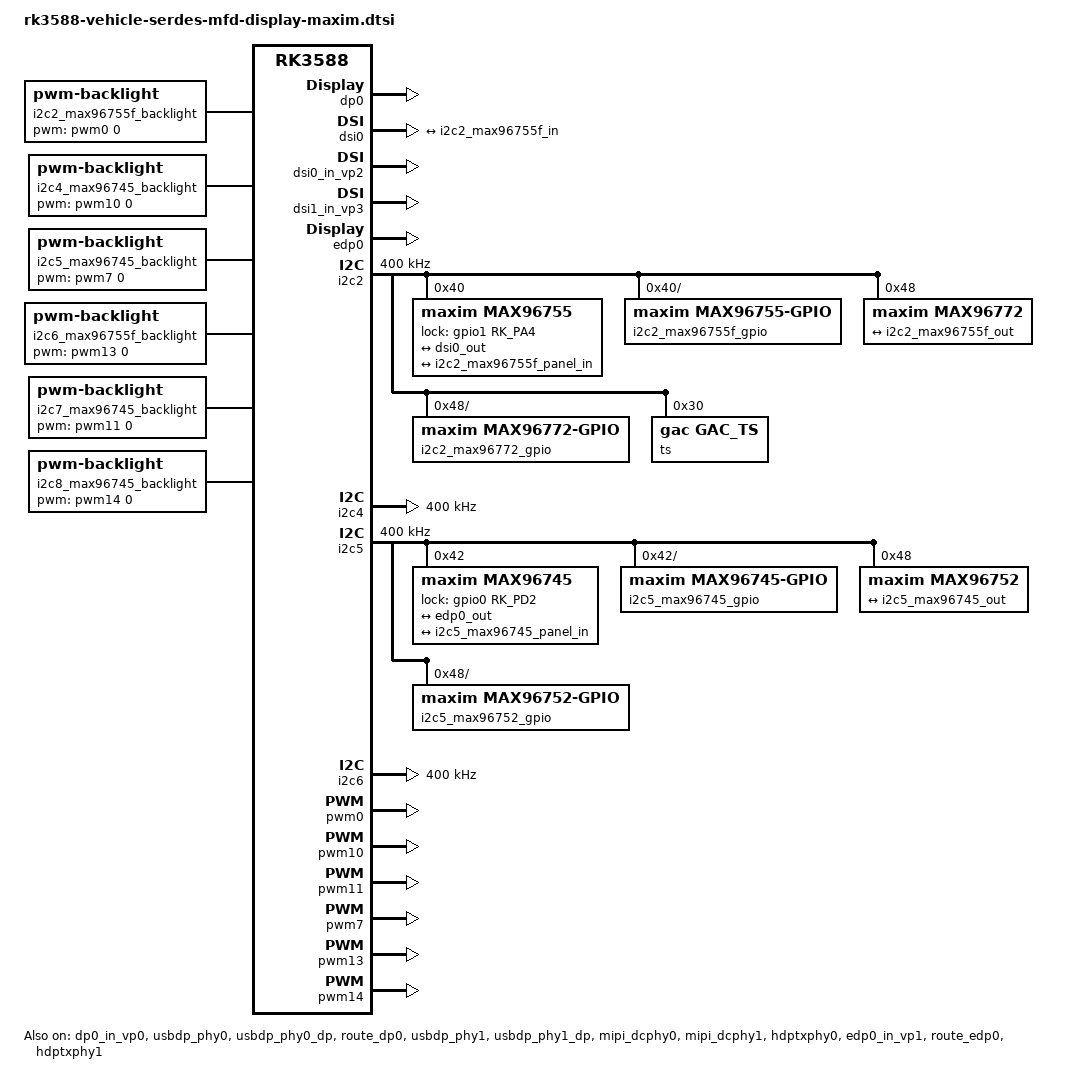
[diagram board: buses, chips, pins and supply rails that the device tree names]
// SPDX-License-Identifier: (GPL-2.0+ OR MIT)
/*
 * Copyright (c) 2022 Rockchip Electronics Co., Ltd.
 */

#include <dt-bindings/display/media-bus-format.h>

/ {
	aliases {
		pinctrl0 = &pinctrl;
	};

	backlight {
		compatible = "simple-bus";
		#address-cells = <1>;
		#size-cells = <0>;

		i2c2_max96755f_backlight: backlight@0 {
			compatible = "pwm-backlight";
			reg = <0>;
			pwms = <&pwm0 0 1000000 0>;
			brightness-levels = <0 4 8 16 32 64 128 255>;
			default-brightness-level = <6>;
		};

		i2c4_max96745_backlight: backlight@1 {
			compatible = "pwm-backlight";
			reg = <1>;
			pwms = <&pwm10 0 1000000 0>;
			brightness-levels = <0 4 8 16 32 64 128 255>;
			default-brightness-level = <6>;
		};

		i2c5_max96745_backlight: backlight@2 {
			compatible = "pwm-backlight";
			reg = <2>;
			pwms = <&pwm7 0 1000000 0>;
			brightness-levels = <0 4 8 16 32 64 128 255>;
			default-brightness-level = <6>;
		};

		i2c6_max96755f_backlight: backlight@3 {
			compatible = "pwm-backlight";
			reg = <3>;
			pwms = <&pwm13 0 1000000 0>;
			brightness-levels = <0 4 8 16 32 64 128 255>;
			default-brightness-level = <6>;
		};

		i2c7_max96745_backlight: backlight@4 {
			compatible = "pwm-backlight";
			reg = <4>;
			pwms = <&pwm11 0 1000000 0>;
			brightness-levels = <0 4 8 16 32 64 128 255>;
			default-brightness-level = <6>;
		};

		i2c8_max96745_backlight: backlight@5 {
			compatible = "pwm-backlight";
			reg = <5>;
			pwms = <&pwm14 0 1000000 0>;
			brightness-levels = <0 4 8 16 32 64 128 255>;
			default-brightness-level = <6>;
		};
	};
};

&dp0 {
	//split-mode;
	force-hpd;
	status = "okay";
};

&dp0_in_vp0 {
	status = "okay";
};

&dp0_out {
	link-frequencies = /bits/ 64 <2700000000>;
	remote-endpoint = <&i2c4_max96745_in>;
};

&usbdp_phy0 {
	rockchip,dp-lane-mux = <0 1 2 3>;
	status = "okay";
};

&usbdp_phy0_dp {
	status = "okay";
};

&route_dp0 {
	connect = <&vp0_out_dp0>;
	status = "okay";
};

&dp1 {
	force-hpd;
	status = "disabled";
};

&dp1_out {
	link-frequencies = /bits/ 64 <2700000000>;
	remote-endpoint = <&i2c8_max96745_in>;
};

&usbdp_phy1 {
	rockchip,dp-lane-mux = <0 1 2 3>;
	status = "okay";
};

&usbdp_phy1_dp {
	status = "okay";
};

&dsi0 {
	status = "okay";

	ports {
		#address-cells = <1>;
		#size-cells = <0>;

		port@1 {
			reg = <1>;

			dsi0_out: endpoint {
				remote-endpoint = <&i2c2_max96755f_in>;
			};
		};
	};
};

&mipi_dcphy0 {
	status = "okay";
};

&dsi0_in_vp2 {
	status = "okay";
};

&route_dsi0 {
	connect = <&vp2_out_dsi0>;
	status = "disabled";
};

&dsi1 {
	status = "disabled";

	ports {
		#address-cells = <1>;
		#size-cells = <0>;

		port@1 {
			reg = <1>;

			dsi1_out: endpoint {
				remote-endpoint = <&i2c6_max96755f_in>;
			};
		};
	};
};

&mipi_dcphy1 {
	status = "okay";
};

&dsi1_in_vp3 {
	status = "okay";
};

&route_dsi1 {
	connect = <&vp3_out_dsi1>;
	status = "disabled";
};

&edp0 {
	//split-mode;
	force-hpd;
	status = "okay";
};

&edp0_out {
	link-frequencies = /bits/ 64 <2700000000>;
	remote-endpoint = <&i2c5_max96745_in>;
};

&hdptxphy0 {
	status = "okay";
};

&edp0_in_vp1 {
	status = "okay";
};

&route_edp0 {
	connect = <&vp1_out_edp0>;
	status = "okay";
};

&edp1 {
	force-hpd;
	status = "disabled";
};

&edp1_out {
	link-frequencies = /bits/ 64 <2700000000>;
	remote-endpoint = <&i2c7_max96745_in>;
};

&hdptxphy1 {
	status = "okay";
};

&hdmi0 {
	status = "disabled";
};

&hdmi1 {
	status = "disabled";
};

&hdptxphy_hdmi0 {
	status = "disabled";
};

&hdptxphy_hdmi1 {
	status = "disabled";
};

&i2c2 {
	pinctrl-0 = <&i2c2m4_xfer>;
	clock-frequency = <400000>;
	status = "okay";

	max96755@40 {
		compatible = "maxim,max96755";
		reg = <0x40>;
		pinctrl-names = "default";
		pinctrl-0 = <&i2c2_serdes_pins>;
		lock-gpios = <&gpio1 RK_PA4 GPIO_ACTIVE_HIGH>;
		#address-cells = <1>;
		#size-cells = <0>;
		sel-mipi;
		status = "okay";

		serdes-init-sequence = [
			0001 0008
			0002 0053
			0003 0040
			0010 0031
			0013 00ca
			0010 0000
			02be 001c
			02bf 0040
			02c0 0020
			0311 0057
			0331 0033
			0332 004e
			03a4 0000
			0385 0000
			0386 0000
			0387 0000
			005b 0012
			0053 0010
		];

		i2c2_max96755f_pinctrl: i2c2-max96755f-pinctrl {
			compatible = "maxim,max96755-pinctrl";
			status = "okay";

			i2c2_max96755f_pinctrl_hog: hog {
				i2c {
					groups = "MAX96755_I2C";
					function = "MAX96755_I2C";
				};
			};

			i2c2_max96755f_panel_pins: panel-pins {
				bl-pwm {
					pins = "MAX96755_MFP0";
					function = "DES_GPIO0_OUTPUT";
				};
			};

			i2c2_max96755f_gpio: i2c2-max96755f-gpio {
				compatible = "maxim,max96755-gpio";
				status = "okay";

				gpio-controller;
				#gpio-cells = <2>;
				gpio-ranges = <&i2c2_max96755f_pinctrl 0 160 24>;
			};
		};

		i2c2_max96755f_bridge: i2c2-max96755f-bridge  {
			compatible = "maxim,max96755-bridge";
			pinctrl-names = "default";
			pinctrl-0 = <&i2c2_max96755f_pinctrl_hog>;
			status = "okay";
		};

		ports {
				#address-cells = <1>;
				#size-cells = <0>;

				port@0 {
					reg = <0>;

					i2c2_max96755f_in: endpoint {
						remote-endpoint = <&dsi0_out>;
					};
				};

				port@1 {
					reg = <1>;

					i2c2_max96755f_out: endpoint {
						remote-endpoint = <&i2c2_max96755f_panel_in>;
					};
				};
			};
	};


	max96772@48 {
		compatible = "maxim,max96772";
		reg = <0x48>;
		#address-cells = <1>;
		#size-cells = <0>;
		status = "okay";

		serdes-init-sequence = [
			0001 0002
			0010 0011
			0050 0000
			07f0 0001
			e791 0000
			e793 0000
			e794 0000
			e795 000a
			e796 007a
			e797 0000
			e798 003c
			e799 0000
			e79a 003c
			e79b 0000
			e79c 00a0
			e79d 0005
			e79e 0054
			e79f 0001
			e7a0 0002
			e7a1 0000
			e7a2 0014
			e7a3 0000
			e7a4 00fc
			e7a5 000e
			e7a6 0055
			e7a7 0055
			e7a8 0000
			e7a9 0080
			e7aa 0040
			e7ab 0000
			e7ac 0003
			e7ad 0000
			e7b0 0000
			e7b1 0000
			e7b2 0050
			e7b3 0000
			e7b4 0000
			e7b5 0040
			e7b6 006c
			e7b7 0020
			e7b8 0007
			e7b9 0000
			e7ba 0001
			e7bb 0000
			e7bc 0000
			e7bd 0000
			e7be 0052
			e7bf 0000
		];

		i2c2_max96772_pinctrl: i2c2-max96772-pinctrl {
			compatible = "maxim,max96772-pinctrl";
			status = "okay";

			i2c2_max96772_gpio: i2c2-max96772-gpio {
				compatible = "maxim,max96772-gpio";
				status = "okay";

				gpio-controller;
				#gpio-cells = <2>;
				gpio-ranges = <&i2c2_max96772_pinctrl 0 185 24>;
			};
		};

		i2c2_max96772_panel: i2c2-max96772-panel {
			compatible = "maxim,max96772-panel";
			backlight = <&i2c2_max96755f_backlight>;

			panel-timing {
				clock-frequency = <180000000>;
				hactive = <2560>;
				vactive = <1440>;
				hfront-porch = <122>;
				hsync-len = <60>;
				hback-porch = <60>;
				vfront-porch = <340>;
				vsync-len = <2>;
				vback-porch = <20>;
				hsync-active = <0>;
				vsync-active = <0>;
				de-active = <0>;
				pixelclk-active = <0>;
			};

			port {
				i2c2_max96755f_panel_in: endpoint {
					remote-endpoint = <&i2c2_max96755f_out>;
				};
			};

		};

	};

	ts@30 {
		compatible = "gac,gac_ts";
		reg = <0x30>;
		gac,max_x = <2560>;
		gac,max_y = <1440>;
	};
};

&i2c4 {
	pinctrl-0 = <&i2c4m2_xfer>;
	clock-frequency = <400000>;
	status = "okay";

	max96745@42 {
		compatible = "maxim,max96745";
		reg = <0x42>;
		pinctrl-names = "default";
		pinctrl-0 = <&i2c4_serdes_pins>;
		#address-cells = <1>;
		#size-cells = <0>;
		status = "disabled";

		serdes-init-sequence = [
			0070 0016
			0005 00c0
			0107 0042
			0027 0022
			0026 0022
			002a 0007
			641a 00f0
		];


		i2c4_max96745_pinctrl: i2c4-max96745-pinctrl {
			compatible = "maxim,max96745-pinctrl";
			status = "okay";

			i2c4_max96745_gpio: i2c4-max96745-gpio {
				compatible = "maxim,max96745-gpio";
				status = "okay";

				gpio-controller;
				#gpio-cells = <2>;
				gpio-ranges = <&i2c4_max96745_pinctrl 0 210 25>;
			};
		};

		i2c4_max96745_bridge: i2c4-max96745-bridge {
			compatible = "maxim,max96745-bridge";
			lock-gpios = <&gpio3 RK_PD4 GPIO_ACTIVE_HIGH>;
			status = "okay";
		};

		ports {
				#address-cells = <1>;
				#size-cells = <0>;

				port@0 {
					reg = <0>;

					i2c4_max96745_in: endpoint {
						remote-endpoint = <&dp0_out>;
					};
				};

				port@1 {
					reg = <1>;

					i2c4_max96745_out: endpoint {
						remote-endpoint = <&i2c4_max96745_panel_in>;
					};
				};
			};

	};


	max96752@48 {
		compatible = "maxim,max96752";
		reg = <0x48>;
		#address-cells = <1>;
		#size-cells = <0>;
		status = "disabled";

		serdes-init-sequence = [
			0001 0002
			0002 0043
			0140 0020
			01ce 005e
			0200 0084
			020e 0040
			020c 0084
			0207 00a1
			0206 0083
			0215 0090
			0227 0090
			020f 0090
			0221 0090
			0212 0090
			0209 0090
		];

		i2c4_max96752_pinctrl: i2c4-max96752-pinctrl {
			compatible = "maxim,max96752-pinctrl";
			status = "okay";

			i2c4_max96752_gpio: i2c4-max96752-gpio {
				compatible = "maxim,max96752-gpio";
				status = "okay";

				gpio-controller;
				#gpio-cells = <2>;
				gpio-ranges = <&i2c4_max96752_pinctrl 0 236 25>;
			};
		};

		i2c4_max96752_panel: i2c4-max96752-panel {
			compatible = "maxim,max96752-panel";
			reg = <0x48>;
			backlight = <&i2c4_max96745_backlight>;

			panel-timing {
				clock-frequency = <148500000>;
				hactive = <1920>;
				vactive = <1080>;
				hfront-porch = <20>;
				hsync-len = <20>;
				hback-porch = <20>;
				vfront-porch = <250>;
				vsync-len = <2>;
				vback-porch = <8>;
				hsync-active = <0>;
				vsync-active = <0>;
				de-active = <0>;
				pixelclk-active = <0>;
			};

			port {
				i2c4_max96745_panel_in: endpoint {
					remote-endpoint = <&i2c4_max96745_out>;
				};
			};
		};

	};
};

&i2c5 {
	clock-frequency = <400000>;
	status = "okay";

	max96745@42 {
		compatible = "maxim,max96745";
		reg = <0x42>;
		pinctrl-names = "default";
		pinctrl-0 = <&i2c5_serdes_pins>;
		lock-gpios = <&gpio0 RK_PD2 GPIO_ACTIVE_HIGH>;
		#address-cells = <1>;
		#size-cells = <0>;
		status = "okay";

		serdes-init-sequence = [
			0070 0016
			0005 00c0
			0107 0042
			0027 0022
			0026 0022
			002a 0007
			641a 00f0
		];


		i2c5_max96745_pinctrl: i2c5-max96745-pinctrl {
			compatible = "maxim,max96745-pinctrl";
			pinctrl-names = "default";
			pinctrl-0 = <&i2c5_max96745_pinctrl_hog>, <&i2c5_max96745_panel_pins>;
			status = "okay";

			i2c5_max96745_pinctrl_hog: hog {
				i2c {
					groups = "MAX96745_I2C";
					function = "MAX96745_I2C";
				};
			};

			i2c5_max96745_panel_pins: panel-pins {
				bl-pwm {
					pins = "MAX96745_MFP0";
					function = "DES_GPIO0_OUTPUT_A";
				};
			};

			i2c5_max96745_gpio: i2c5-max96745-gpio {
				compatible = "maxim,max96745-gpio";
				status = "okay";

				gpio-controller;
				#gpio-cells = <2>;
				gpio-ranges = <&i2c5_max96745_pinctrl 0 262 25>;
			};
		};

		i2c5_max96745_bridge: i2c5-max96745-bridge {
			compatible = "maxim,max96745-bridge";
			status = "okay";
		};

		ports {
				#address-cells = <1>;
				#size-cells = <0>;

				port@0 {
					reg = <0>;

					i2c5_max96745_in: endpoint {
						remote-endpoint = <&edp0_out>;
					};
				};

				port@1 {
					reg = <1>;

					i2c5_max96745_out: endpoint {
						remote-endpoint = <&i2c5_max96745_panel_in>;
					};
				};
			};

	};


	max96752@48 {
		compatible = "maxim,max96752";
		reg = <0x48>;
		#address-cells = <1>;
		#size-cells = <0>;
		status = "okay";

		serdes-init-sequence = [
			0001 0002
			0002 0043
			0140 0020
			01ce 005e
			0200 0084
			020e 0040
			020c 0084
			0207 00a1
			0206 0083
			0215 0090
			0227 0090
			020f 0090
			0221 0090
			0212 0090
			0209 0090
		];

		i2c5_max96752_pinctrl: i2c5-max96752-pinctrl {
			compatible = "maxim,max96752-pinctrl";
			status = "okay";

			i2c5_max96752_gpio: i2c5-max96752-gpio {
				compatible = "maxim,max96752-gpio";
				status = "okay";

				gpio-controller;
				#gpio-cells = <2>;
				gpio-ranges = <&i2c5_max96752_pinctrl 0 288 25>;
			};
		};

		i2c5_max96752_panel: i2c5-max96752-panel {
			compatible = "maxim,max96752-panel";
			reg = <0x48>;
			backlight = <&i2c5_max96745_backlight>;
			panel-size= <346 194>;

			panel-timing {
				clock-frequency = <148500000>;
				hactive = <1920>;
				vactive = <1080>;
				hfront-porch = <20>;
				hsync-len = <20>;
				hback-porch = <20>;
				vfront-porch = <250>;
				vsync-len = <2>;
				vback-porch = <8>;
				hsync-active = <0>;
				vsync-active = <0>;
				de-active = <0>;
				pixelclk-active = <0>;
			};

			port {
				i2c5_max96745_panel_in: endpoint {
					remote-endpoint = <&i2c5_max96745_out>;
				};
			};

		};
	};
};

&i2c6 {
	pinctrl-0 = <&i2c6m3_xfer>;
	clock-frequency = <400000>;
	status = "okay";

	max96755f@40 {
		compatible = "maxim,max96755f";
		reg = <0x40>;
		pinctrl-names = "default";
		pinctrl-0 = <&i2c6_serdes_pins>;
		#address-cells = <1>;
		#size-cells = <0>;
		status = "disabled";


		pinctrl {
			compatible = "maxim,max96755f-pinctrl";
			pinctrl-names = "default";
			pinctrl-0 = <&i2c6_max96755f_pinctrl_hog>;

			i2c6_max96755f_pinctrl_hog: hog {
				i2c {
					groups = "I2C";
					function = "I2C";
				};
			};


			i2c6_max96755f_panel_pins: panel-pins {
				bl-pwm {
					pins = "MFP18";
					function = "GPIO_TX_0";
				};
			};
		};

		bridge {
			compatible = "maxim,max96755f-bridge";
			lock-gpios = <&gpio1 RK_PA5 GPIO_ACTIVE_HIGH>;

			ports {
				#address-cells = <1>;
				#size-cells = <0>;

				port@0 {
					reg = <0>;

					i2c6_max96755f_in: endpoint {
						remote-endpoint = <&dsi1_out>;
					};
				};

				port@1 {
					reg = <1>;

					i2c6_max96755f_out: endpoint {
						remote-endpoint = <&i2c6_max96755f_panel_in>;
					};
				};
			};
		};

		gmsl@0 {
			reg = <0>;
			clock-frequency = <400000>;
			#address-cells = <1>;
			#size-cells = <0>;

			panel@48 {
				compatible = "boe,av156fht-l83";
				reg = <0x48>;
				backlight = <&i2c6_max96755f_backlight>;
				pinctrl-names = "default";
				pinctrl-0 = <&i2c6_max96755f_panel_pins>;

				panel-timing {
					clock-frequency = <148500000>;
					hactive = <1920>;
					vactive = <1080>;
					hfront-porch = <20>;
					hsync-len = <20>;
					hback-porch = <20>;
					vfront-porch = <250>;
					vsync-len = <2>;
					vback-porch = <8>;
					hsync-active = <0>;
					vsync-active = <0>;
					de-active = <0>;
					pixelclk-active = <0>;
				};

				port {
					i2c6_max96755f_panel_in: endpoint {
						remote-endpoint = <&i2c6_max96755f_out>;
					};
				};
			};
		};
	};
};

&i2c7 {
	pinctrl-0 = <&i2c7m3_xfer>;
	clock-frequency = <400000>;
	status = "disabled";

	max96745@42 {
		compatible = "maxim,max96745";
		reg = <0x42>;
		pinctrl-names = "default";
		pinctrl-0 = <&i2c7_serdes_pins>;
		#address-cells = <1>;
		#size-cells = <0>;
		status = "disabled";


		pinctrl {
			compatible = "maxim,max96745-pinctrl";
			pinctrl-names = "default";
			pinctrl-0 = <&i2c7_max96745_pinctrl_hog>;

			i2c7_max96745_pinctrl_hog: hog {
				i2c {
					groups = "I2C";
					function = "I2C";
				};
			};

			i2c7_max96745_panel_pins: panel-pins {
				bl-pwm {
					pins = "MFP0";
					function = "GPIO_TX_A_0";
				};
			};
		};

		bridge {
			compatible = "maxim,max96745-bridge";
			lock-gpios = <&gpio4 RK_PA7 GPIO_ACTIVE_HIGH>;

			ports {
				#address-cells = <1>;
				#size-cells = <0>;

				port@0 {
					reg = <0>;

					i2c7_max96745_in: endpoint {
						remote-endpoint = <&edp1_out>;
					};
				};

				port@1 {
					reg = <1>;

					i2c7_max96745_out: endpoint {
						remote-endpoint = <&i2c7_max96745_panel_in>;
					};
				};
			};
		};

		gmsl@0 {
			reg = <0>;
			clock-frequency = <400000>;
			#address-cells = <1>;
			#size-cells = <0>;

			panel@48 {
				compatible = "boe,av156fht-l83";
				reg = <0x48>;
				backlight = <&i2c7_max96745_backlight>;
				pinctrl-names = "default";
				pinctrl-0 = <&i2c7_max96745_panel_pins>;

				panel-timing {
					clock-frequency = <148500000>;
					hactive = <1920>;
					vactive = <1080>;
					hfront-porch = <20>;
					hsync-len = <20>;
					hback-porch = <20>;
					vfront-porch = <250>;
					vsync-len = <2>;
					vback-porch = <8>;
					hsync-active = <0>;
					vsync-active = <0>;
					de-active = <0>;
					pixelclk-active = <0>;
				};

				port {
					i2c7_max96745_panel_in: endpoint {
						remote-endpoint = <&i2c7_max96745_out>;
					};
				};
			};
		};
	};
};

&i2c8 {
	pinctrl-0 = <&i2c8m2_xfer>;
	clock-frequency = <400000>;
	status = "disabled";

	max96745@42 {
		compatible = "maxim,max96745";
		reg = <0x42>;
		pinctrl-names = "default";
		pinctrl-0 = <&i2c8_serdes_pins>;
		#address-cells = <1>;
		#size-cells = <0>;
		status = "disabled";


		pinctrl {
			compatible = "maxim,max96745-pinctrl";
			pinctrl-names = "default";
			pinctrl-0 = <&i2c8_max96745_pinctrl_hog>;

			i2c8_max96745_pinctrl_hog: hog {
				i2c {
					groups = "I2C";
					function = "I2C";
				};
			};

			i2c8_max96745_panel_pins: panel-pins {
				bl-pwm {
					pins = "MFP0";
					function = "GPIO_TX_A_0";
				};
			};
		};

		bridge {
			compatible = "maxim,max96745-bridge";
			lock-gpios = <&gpio3 RK_PD2 GPIO_ACTIVE_HIGH>;

			ports {
				#address-cells = <1>;
				#size-cells = <0>;

				port@0 {
					reg = <0>;

					i2c8_max96745_in: endpoint {
						remote-endpoint = <&dp1_out>;
					};
				};

				port@1 {
					reg = <1>;

					i2c8_max96745_out: endpoint {
						remote-endpoint = <&i2c8_max96745_panel_in>;
					};
				};
			};
		};

		gmsl@0 {
			reg = <0>;
			clock-frequency = <400000>;
			#address-cells = <1>;
			#size-cells = <0>;

			panel@48 {
				compatible = "boe,av156fht-l83";
				reg = <0x48>;
				backlight = <&i2c8_max96745_backlight>;
				pinctrl-names = "default";
				pinctrl-0 = <&i2c8_max96745_panel_pins>;

				panel-timing {
					clock-frequency = <148500000>;
					hactive = <1920>;
					vactive = <1080>;
					hfront-porch = <20>;
					hsync-len = <20>;
					hback-porch = <20>;
					vfront-porch = <250>;
					vsync-len = <2>;
					vback-porch = <8>;
					hsync-active = <0>;
					vsync-active = <0>;
					de-active = <0>;
					pixelclk-active = <0>;
				};

				port {
					i2c8_max96745_panel_in: endpoint {
						remote-endpoint = <&i2c8_max96745_out>;
					};
				};
			};
		};
	};
};

&pinctrl {
	serdes {
		i2c2_serdes_pins: i2c2-serdes-pins {
			rockchip,pins =
				<1 RK_PA4 RK_FUNC_GPIO &pcfg_pull_up>;
		};

		i2c4_serdes_pins: i2c4-serdes-pins {
			rockchip,pins =
				<3 RK_PD4 RK_FUNC_GPIO &pcfg_pull_up>;
		};

		i2c5_serdes_pins: i2c5-serdes-pins {
			rockchip,pins =
				<0 RK_PD2 RK_FUNC_GPIO &pcfg_pull_up>;
		};

		i2c6_serdes_pins: i2c6-serdes-pins {
			rockchip,pins =
				<1 RK_PA5 RK_FUNC_GPIO &pcfg_pull_up>;
		};

		i2c7_serdes_pins: i2c7-serdes-pins {
			rockchip,pins =
				<4 RK_PA7 RK_FUNC_GPIO &pcfg_pull_up>;
		};

		i2c8_serdes_pins: i2c8-serdes-pins {
			rockchip,pins =
				<3 RK_PD2 RK_FUNC_GPIO &pcfg_pull_up>;
		};
	};
};

&pwm0 {
	pinctrl-0 = <&pwm0m2_pins>;
	status = "okay";
};

&pwm10 {
	pinctrl-0 = <&pwm10m2_pins>;
	status = "okay";
};

&pwm11 {
	pinctrl-0 = <&pwm11m3_pins>;
	status = "okay";
};

&pwm7 {
	pinctrl-0 = <&pwm7m0_pins>;
	status = "okay";
};

&pwm13 {
	pinctrl-0 = <&pwm13m1_pins>;
	status = "okay";
};

&pwm14 {
	pinctrl-0 = <&pwm14m0_pins>;
	status = "okay";
};
